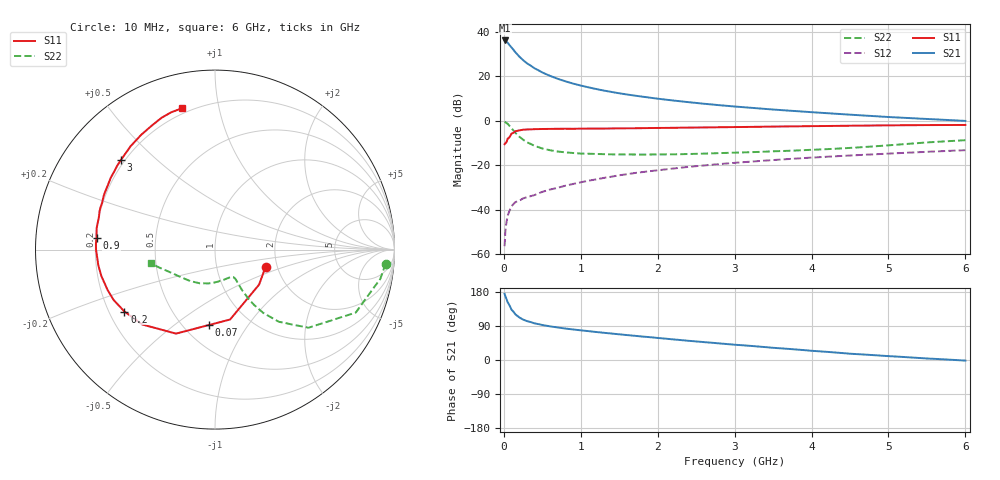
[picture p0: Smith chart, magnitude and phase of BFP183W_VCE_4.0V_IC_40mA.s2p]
! Infineon Technologies  Discrete & RF Semiconductors
! BFP183W
! VCE =  4.0 V,  IC =  40 mA
! Common Emitter S-Parameters:  Jan 2017
# GHz  S  MA  R  50
!  f  S11  S21  S12  S22
! GHz  MAG  ANG  MAG  ANG  MAG  ANG  MAG  ANG
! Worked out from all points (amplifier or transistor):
!   77 points, 10 MHz to 6 GHz, reference 50 ohm
!   highest |S21| = 36.2 dB at 10 MHz (marker M1)
!   |S21| within 3 dB of that: start of sweep to 95.8 MHz
!   unconditionally stable (mu >= 1): 745.4 MHz to 3.337 GHz
!   at 130 MHz: K = 0.37, MSG = 34.6 dB, |S12| = -37.3 dB
!   at 2.2 GHz: K = 1.07, MAG = 13.7 dB, |S12| = -21.5 dB
!   at 6 GHz: K = 0.86, MSG = 6.6 dB, |S12| = -13.2 dB
!   S11 on the Smith chart (normalised r, x): 10 MHz: 1.74, -0.36; 70 MHz: 0.66, -0.67; 200 MHz: 0.26, -0.29; 900 MHz: 0.20, +0.05; 3 GHz: 0.18, +0.39; 6 GHz: 0.17, +0.78
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0.01  0.2977 -18.5  64.81 174.6  0.0015 89.1  0.9539 -4.7
0.02  0.3138 -38.5  63.59 168.2  0.0033 93.4  0.9355 -10.0
0.05  0.3984 -77.8  57.65 152.2  0.0073 72.3  0.8592 -24.1
0.07  0.4225 -94.9  51.92 145.5  0.0091 64.3  0.7803 -29.5
0.1  0.5161 -114.9  45.05 132.6  0.0119 57.0  0.6787 -39.9
0.15  0.5819 -134.2  35.17 120.6  0.0148 52.3  0.5369 -48.5
0.2  0.6111 -145.6  28.19 112.5  0.0158 50.7  0.443 -52.7
0.25  0.6306 -153.5  23.37 106.7  0.0179 48.9  0.3766 -54.8
0.3  0.6391 -159.2  19.84 102.7  0.019 50.3  0.3302 -55.8
0.4  0.6502 -167.0  15.25 96.6  0.0213 52.4  0.2723 -56.3
0.5  0.6559 -172.3  12.31 92.3  0.0251 56.7  0.2385 -55.9
0.6  0.658 -176.4  10.33 88.8  0.0283 57.4  0.2178 -55.6
0.7  0.6627 -179.8  8.87 85.9  0.031 60.5  0.2037 -55.1
0.9  0.6626 174.4  6.915 80.6  0.0378 62.8  0.1886 -55.9
1.1  0.6701 169.8  5.689 76.2  0.0448 64.6  0.1818 -57.1
1.5  0.678 161.6  4.182 67.8  0.0594 65.1  0.1747 -62.8
2.1  0.6939 150.5  3.015 56.4  0.0805 63.6  0.1754 -76.3
3  0.7241 136.4  2.104 40.3  0.1132 59.3  0.1922 -101.4
3.1  0.7271 134.9  2.04 38.9  0.1167 58.7  0.1941 -104.1
4.1  0.7629 121.5  1.528 22.9  0.1519 52.2  0.2263 -130.8
5.1  0.7945 111.1  1.196 9.1  0.1862 45.6  0.2893 -155.4
6  0.8085 103.2  0.998 -1.6  0.2184 39.2  0.3665 -168.1
